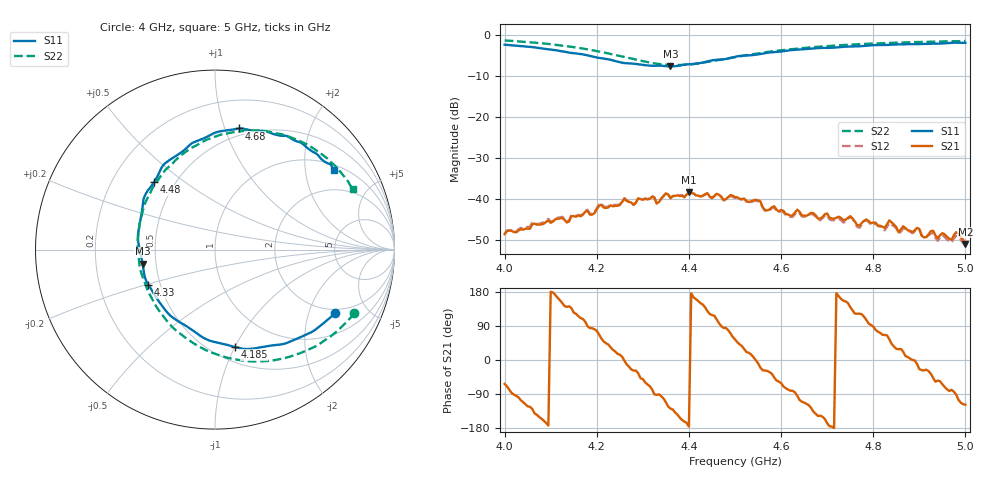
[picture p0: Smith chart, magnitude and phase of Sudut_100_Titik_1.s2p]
# Hz S RI R 50
! CMT, C1220, 16058040, 17.2.0/1
! Date: 15/08/2018 11:32:23
! Data: Format (Calibration Info)
! Freq  S11: Re/Im (F2)  S21: Re/Im (F2)  S12: Re/Im (F2)  S22: Re/Im (F2)
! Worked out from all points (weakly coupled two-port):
!   201 points, 4 GHz to 5 GHz, reference 50 ohm
!   highest |S21| = -38.38 dB at 4.4 GHz (marker M1); lowest = -50.9 dB at 5 GHz (marker M2)
!   lowest |S11| = -7.7 dB at 4.36 GHz (marker M3), VSWR 2.39, Z = 21 - j3.95 ohm
!   |S11| at or under -10 dB: nowhere
!   |S22| runs from -7.4 to -1.4 dB; largest |S21 - S12| = 0.00043
!   S11 on the Smith chart (normalised r, x): 4 GHz: 1.80, -3.00; 4.185 GHz: 0.64, -1.00; 4.33 GHz: 0.43, -0.21; 4.48 GHz: 0.38, +0.39; 4.68 GHz: 0.44, +1.12; 5 GHz: 1.17, +2.85
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4e9  0.667 -0.356  0.00169 -0.00334  0.00189 -0.00334  0.7744 -0.355
4.17e9  0.1621 -0.5534  -0.00202 0.00615  -0.00219 0.00625  0.2735 -0.6215
4.185e9  0.1093 -0.5423  0.00065 0.00645  0.00058 0.00667  0.2087 -0.6231
4.26e9  -0.1742 -0.4169  0.0101 -0.000319  0.0103 -0.000389  -0.1187 -0.5225
4.33e9  -0.3708 -0.197  -0.000323 -0.0088  -0.000433 -0.00893  -0.3539 -0.2687
4.335e9  -0.3809 -0.1794  -0.000103 -0.00922  -0.000205 -0.00931  -0.3658 -0.2459
4.36e9  -0.4033 -0.078  -0.00635 -0.00804  -0.00655 -0.00807  -0.4121 -0.1263
4.4e9  -0.4288 0.0876  -0.012 -0.000862  -0.0122 -0.00058  -0.428 0.0743
4.48e9  -0.3403 0.3749  0.000916 0.00994  0.00115 0.00976  -0.3014 0.4113
4.5e9  -0.3035 0.4445  0.00613 0.0086  0.00601 0.00835  -0.246 0.4723
4.62e9  -0.00704 0.6482  0.000998 -0.0062  0.000863 -0.00599  0.1117 0.6557
4.67e9  0.114 0.6709  -0.00484 -0.00467  -0.00472 -0.0044  0.2484 0.6628
4.68e9  0.1327 0.6751  -0.00489 -0.0031  -0.00472 -0.00291  0.2729 0.6595
4.75e9  0.2892 0.6577  -0.00473 0.00399  -0.00468 0.0038  0.4332 0.6208
4.77e9  0.3344 0.6413  -0.00254 0.00401  -0.00246 0.00373  0.4728 0.6047
4.825e9  0.4275 0.6164  0.00181 0.00408  0.00177 0.00376  0.5684 0.55
4.835e9  0.4461 0.607  0.00318 0.0045  0.00288 0.00421  0.5831 0.5391
4.855e9  0.4781 0.5961  0.00347 0.00187  0.00336 0.00179  0.6131 0.5169
4.9e9  0.5431 0.5458  0.00394 -0.00176  0.00402 -0.00158  0.6705 0.4641
4.97e9  0.6397 0.4772  0.000623 -0.00313  0.000573 -0.00289  0.7432 0.3768
4.98e9  0.6465 0.4716  -0.000103 -0.00395  -0.000102 -0.00357  0.7506 0.3625
5e9  0.6613 0.4443  -0.00133 -0.00251  -0.00115 -0.00241  0.7686 0.3357
